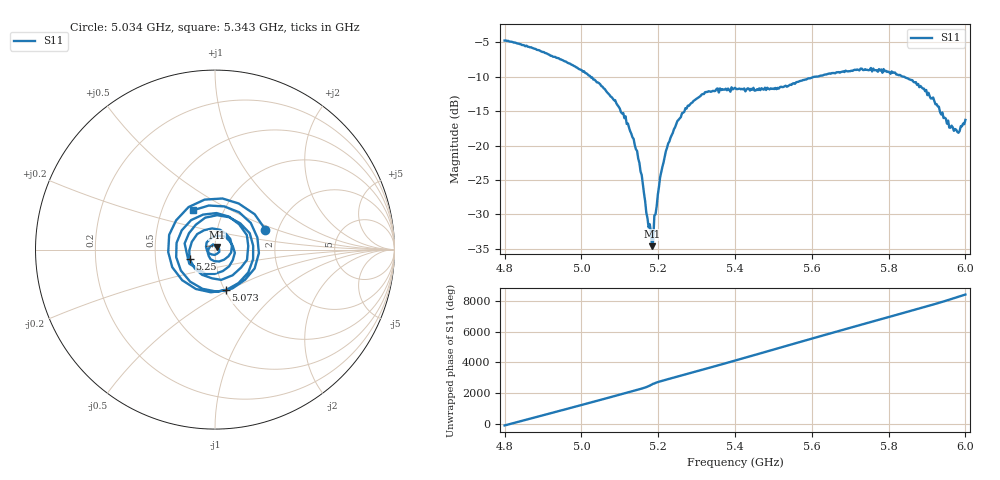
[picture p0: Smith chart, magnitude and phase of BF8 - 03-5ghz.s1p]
! NanoVNA-App
! Date: 2026-05-22 16:36:47
! Start: 4.8GHz Stop: 6GHz Points: 401
! S-Parameter data: F S11
# Hz S RI R 50
!  Frequency  S11_Real  S11_Imag
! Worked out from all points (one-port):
!   401 points, 4.8 GHz to 6 GHz, reference 50 ohm
!   lowest |S11| = -34.6 dB at 5.184 GHz (marker M1), VSWR 1.04, Z = 51.1 + j1.52 ohm
!   |S11| at or under -10 dB: 5.024 GHz to 5.606 GHz (581.9 MHz wide, 10.9 % of centre); 5.841 GHz to end of sweep
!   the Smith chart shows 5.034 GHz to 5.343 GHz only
!   S11 on the Smith chart (normalised r, x): 5.034 GHz: 1.72, +0.42; 5.073 GHz: 1.01, -0.48; 5.25 GHz: 0.75, -0.08; 5.343 GHz: 0.72, +0.34
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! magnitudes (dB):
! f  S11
! 4.8 GHz  -4.7
! 4.95 GHz  -7.5
! 5.034 GHz  -10.4
! 5.073 GHz  -12.6
! 5.1 GHz  -14.6
! 5.121 GHz  -16.8
! 5.142 GHz  -20.5
! 5.154 GHz  -23.8
! 5.178 GHz  -31.4
! 5.181 GHz  -32.6
! 5.184 GHz  -34.6
! 5.19 GHz  -30.1
! 5.205 GHz  -24.6
! 5.214 GHz  -22.4
! 5.226 GHz  -19.7
! 5.25 GHz  -16.4
! 5.292 GHz  -13.5
! 5.343 GHz  -12.0
! 5.4 GHz  -11.6
! 5.502 GHz  -11.8
! 5.55 GHz  -11.0
! 5.7 GHz  -9.2
! 5.781 GHz  -8.9
! 5.85 GHz  -10.2
! 5.91 GHz  -13.1
! 5.964 GHz  -17.1
! 5.979 GHz  -18.0
! 6 GHz  -16.3
